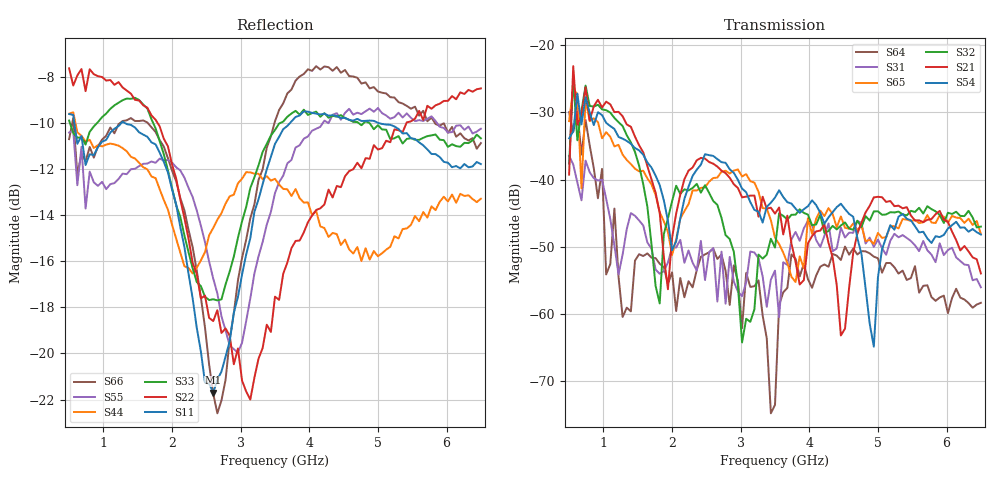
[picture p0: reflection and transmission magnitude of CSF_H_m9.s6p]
!Keysight Technologies,M9804A,MY58100912,A.14.10.03
!Date: Thursday, April 27, 2023 10:28:33
!Correction: S11(C  6-Port  )
!S12(C  6-Port  )
!S13(C  6-Port  )
!S14(C  6-Port  )
!S15(C  6-Port  )
!S16(C  6-Port  )
!S21(C  6-Port  )
!S22(C  6-Port  )
!S23(C  6-Port  )
!S24(C  6-Port  )
!S25(C  6-Port  )
!S26(C  6-Port  )
!S31(C  6-Port  )
!S32(C  6-Port  )
!S33(C  6-Port  )
!S34(C  6-Port  )
!S35(C  6-Port  )
!S36(C  6-Port  )
!S41(C  6-Port  )
!S42(C  6-Port  )
!S43(C  6-Port  )
!S44(C  6-Port  )
!S45(C  6-Port  )
!S46(C  6-Port  )
!S51(C  6-Port  )
!S52(C  6-Port  )
!S53(C  6-Port  )
!S54(C  6-Port  )
!S55(C  6-Port  )
!S56(C  6-Port  )
!S61(C  6-Port  )
!S62(C  6-Port  )
!S63(C  6-Port  )
!S64(C  6-Port  )
!S65(C  6-Port  )
!S66(C  6-Port  )
!S6P File: Measurement: :
# Hz S  RI  R 50
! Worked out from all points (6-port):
!   101 points, 500 MHz to 6.5 GHz, reference 50 ohm
!   strongest paths, dB at 500 MHz, 2 GHz, 3.5 GHz, 5 GHz, 6.5 GHz:
!     S54: -33.9, -50.5, -42.7, -54.6, -48.2
!     S21: -39.3, -48.7, -45.1, -42.6, -54.0
!     S32: -37.6, -43.2, -50.1, -44.7, -47.0
!     S65: -31.3, -51.2, -48.7, -47.9, -48.1
!     S31: -36.5, -50.1, -53.6, -48.9, -56.0
!     S64: -30.0, -53.8, -73.5, -51.7, -58.4
!   lowest |S11| = -21.7 dB at 2.6 GHz (marker M1), VSWR 1.18, Z = 42.7 + j2.04 ohm
!   |S11| at or under -10 dB: 577.1 MHz to 1.259 GHz (682.1 MHz wide, 74.3 % of centre); 1.317 GHz to 3.717 GHz (2.399 GHz wide, 95.3 % of centre); 5.019 GHz to end of sweep
